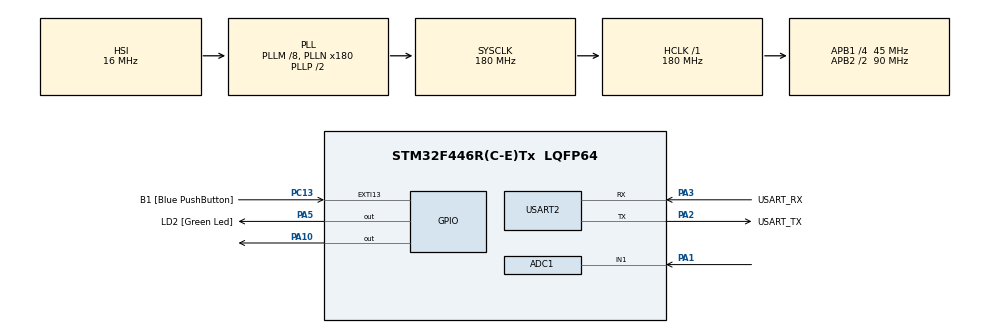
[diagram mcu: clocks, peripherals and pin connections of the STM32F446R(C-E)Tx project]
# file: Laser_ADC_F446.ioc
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Mcu.Family=STM32F4
PH0-OSC_IN.Signal=RCC_OSC_IN
RCC.CortexFreq_Value=180000000
ADC1.ContinuousConvMode=ENABLE
PA14.GPIO_Label=TCK
PC13.GPIO_Label=B1 [Blue PushButton]
RCC.SYSCLKSource=RCC_SYSCLKSOURCE_PLLCLK
ProjectManager.StackSize=0x400
RCC.HCLKFreq_Value=180000000
ADC1.Resolution=ADC_RESOLUTION_12B
RCC.APB2TimFreq_Value=180000000
Dma.ADC1.0.Direction=DMA_PERIPH_TO_MEMORY
ADC1.Channel-2\#ChannelRegularConversion=ADC_CHANNEL_1
ADC1.InjNumberOfConversion=0
NVIC.DMA2_Stream0_IRQn=true\:0\:0\:false\:false\:true\:false\:true
Dma.ADC1.0.MemDataAlignment=DMA_MDATAALIGN_HALFWORD
RCC.AHBFreq_Value=180000000
PH0-OSC_IN.Mode=HSE-External-Oscillator
RCC.HSE_VALUE=8000000
ADC1.ScanConvMode=DISABLE
ADC1.Rank-2\#ChannelRegularConversion=1
PC14-OSC32_IN.Mode=LSE-External-Oscillator
PA14.Mode=Serial_Wire
Dma.ADC1.0.PeriphInc=DMA_PINC_DISABLE
RCC.FLatency-AdvancedSettings=FLASH_LATENCY_5
PH1-OSC_OUT.Mode=HSE-External-Oscillator
Mcu.Package=LQFP64
TIM2.Prescaler=90-1
USART2.VirtualMode=VM_ASYNC
PA2.GPIO_Label=USART_TX
PA10.Signal=GPIO_Output
RCC.APB2CLKDivider=RCC_HCLK_DIV2
SH.ADCx_IN1.0=ADC1_IN1,IN1
RCC.APB1TimFreq_Value=90000000
Dma.ADC1.0.FIFOMode=DMA_FIFOMODE_DISABLE
Dma.Request0=ADC1
PA3.Signal=USART2_RX
PB3.GPIO_Label=SWO
PC15-OSC32_OUT.Mode=LSE-External-Oscillator
Dma.ADC1.0.Instance=DMA2_Stream0
PC13.Signal=GPXTI13
RCC.APB1CLKDivider=RCC_HCLK_DIV4
PC14-OSC32_IN.Signal=RCC_OSC32_IN
ADC1.SamplingTime-2\#ChannelRegularConversion=ADC_SAMPLETIME_3CYCLES
PA13.Signal=SYS_JTMS-SWDIO
PA3.Mode=Asynchronous
Dma.ADC1.0.PeriphDataAlignment=DMA_PDATAALIGN_HALFWORD
ProjectManager.TargetToolchain=STM32CubeIDE
Dma.ADC1.0.Mode=DMA_NORMAL
Dma.ADC1.0.Priority=DMA_PRIORITY_VERY_HIGH
RCC.USBFreq_Value=180000000
PC15-OSC32_OUT.Signal=RCC_OSC32_OUT
PA1.Signal=ADCx_IN1
PA5.Signal=GPIO_Output
board=NUCLEO-F446RE
RCC.VCOOutputFreq_Value=360000000
RCC.APB2Freq_Value=90000000
VP_TIM2_VS_ClockSourceINT.Mode=Internal
PH1-OSC_OUT.Signal=RCC_OSC_OUT
ADC1.DMAContinuousRequests=ENABLE
ADC1.NbrOfConversion=1
PA13.Mode=Serial_Wire
Mcu.Name=STM32F446R(C-E)Tx
PA13.GPIO_Label=TMS
PA2.Signal=USART2_TX
RCC.48MHZClocksFreq_Value=84000000
PB3.Signal=SYS_JTDO-SWO
RCC.SYSCLKFreq_VALUE=180000000
ADC1.master=1
PA5.GPIO_Label=LD2 [Green Led]
PC13.GPIO_ModeDefaultEXTI=GPIO_MODE_IT_FALLING
PA14.Signal=SYS_JTCK-SWCLK
Dma.ADC1.0.MemInc=DMA_MINC_ENABLE
ProjectManager.HeapSize=0x200
RCC.HSI_VALUE=16000000
NVIC.PriorityGroup=NVIC_PRIORITYGROUP_0
ADC1.NbrOfConversionFlag=1
RCC.PLLM=8
RCC.PLLN=180
PA2.Mode=Asynchronous
RCC.APB1Freq_Value=45000000
ADC1.ClockPrescaler=ADC_CLOCK_SYNC_PCLK_DIV4
PA3.GPIO_Label=USART_RX

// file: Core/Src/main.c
/* USER CODE BEGIN Header */
/**
  ******************************************************************************
  * @file           : main.c
  * @brief          : Main program body
  ******************************************************************************
  * @attention
  *
  * <h2><center>&copy; Copyright (c) 2021 STMicroelectronics.
  * All rights reserved.</center></h2>
  *
  * This software component is licensed by ST under BSD 3-Clause license,
  * the "License"; You may not use this file except in compliance with the
  * License. You may obtain a copy of the License at:
  *                        opensource.org/licenses/BSD-3-Clause
  *3
  ******************************************************************************
  */
/* USER CODE END Header */
#include "main.h"

/* USER CODE BEGIN Includes */
#include <string.h>
#include <stdio.h>
/* USER CODE END Includes */

/* USER CODE BEGIN PTD */
#define ADC_BUF_LEN 1 //num_samples per iteration
#define NUM_PASSES 1 // Number of averages per iteration
#define NUM_FREQS 10000
#define FREQ_PASS 10000
#define mode 2 // 1 = print averages, 2 = print frequencies
#define mod 1
/* USER CODE END PTD */

ADC_HandleTypeDef hadc1;
DMA_HandleTypeDef hdma_adc1;

TIM_HandleTypeDef htim2;

UART_HandleTypeDef huart2;

/* USER CODE BEGIN PV */
uint16_t adc_buf[ADC_BUF_LEN];
float avgs[ADC_BUF_LEN];
float freqs[NUM_FREQS];
float avg_freqs[NUM_FREQS];
int freq = 0;
volatile int state = 0;
int pass = 0;
int num_freq = 0;
uint32_t COOLDOWN = 2000;
uint32_t LASER_DELAY = 500;
/* USER CODE END PV */

void SystemClock_Config(void);
static void MX_GPIO_Init(void);
static void MX_DMA_Init(void);
static void MX_USART2_UART_Init(void);
static void MX_ADC1_Init(void);
static void MX_TIM2_Init(void);
/* USER CODE BEGIN PFP */
void delay_us(uint32_t);
/* USER CODE END PFP */

int main(void)
{
  /* USER CODE BEGIN 1 */
  char msg[16];
  /* USER CODE END 1 */

  /* MCU Configuration--------------------------------------------------------*/

  /* Reset of all peripherals, Initializes the Flash interface and the Systick. */
  HAL_Init();

  /* Configure the system clock */
  SystemClock_Config();

  /* Initialize all configured peripherals */
  MX_GPIO_Init();
  MX_DMA_Init();
  MX_USART2_UART_Init();
  MX_ADC1_Init();
  MX_TIM2_Init();
  /* USER CODE BEGIN 2 */
  HAL_TIM_Base_Start(&htim2);
  delay_us(500);
  HAL_GPIO_WritePin(GPIOA, GPIO_PIN_10, GPIO_PIN_RESET);
  delay_us(LASER_DELAY);
  HAL_GPIO_WritePin(GPIOA, LD2_Pin, GPIO_PIN_SET);
  //HAL_ADC_Start_DMA(&hadc1, (uint32_t*)adc_buf, ADC_BUF_LEN);
  state = 1;
  /* USER CODE END 2 */

  /* Infinite loop */
  /* USER CODE BEGIN WHILE */
  while (1)
  {
	if (state == 1) {
		HAL_GPIO_WritePin(GPIOA, GPIO_PIN_10, GPIO_PIN_SET);
		HAL_GPIO_WritePin(GPIOA, LD2_Pin, GPIO_PIN_RESET);
		delay_us(COOLDOWN);
		for (int j = 0; j < ADC_BUF_LEN; j++) {
			avgs[j] = (avgs[j] * pass + adc_buf[j]) / (pass + 1);
		}
		pass += 1;
		if (pass == NUM_PASSES) {
			state = 2;
		} else {
			state = 0;
			HAL_GPIO_WritePin(GPIOA, GPIO_PIN_10, GPIO_PIN_RESET);
			delay_us(LASER_DELAY);
			HAL_GPIO_WritePin(GPIOA, LD2_Pin, GPIO_PIN_SET);
			//HAL_ADC_Start_DMA(&hadc1, (uint32_t*)adc_buf, ADC_BUF_LEN);
			state = 1;
		}
	}
	if (state == 2) {
		if (mode == 1) {
			float val = 0.0;
			for (int j = 0; j < ADC_BUF_LEN; j+=1){
				val = 3.3 * avgs[j] / 4096;
				sprintf(msg, "%f\n", val);
			  	HAL_UART_Transmit(&huart2, (uint8_t*)msg, strlen(msg), HAL_MAX_DELAY);
			}
			while(1) {

			}
		} else {
			//HAL_GPIO_TogglePin(GPIOA, LD2_Pin);
			float average = 0;
			int total = 0;
			for (int j = 0; j < ADC_BUF_LEN; j++) {
				total += avgs[j];
			}
			average = 3.3 * (total / ADC_BUF_LEN) / 4096;
			freqs[freq] = average;
			freq += 1;
			if (freq == NUM_FREQS) {
				state = 3;
			} else {
				pass = 0;
				state = 0;
				if (freq % mod == 0) {
					HAL_GPIO_WritePin(GPIOA, GPIO_PIN_10, GPIO_PIN_RESET);
				}else {
					HAL_GPIO_WritePin(GPIOA, GPIO_PIN_10, GPIO_PIN_SET);
				}
				delay_us(LASER_DELAY);
				HAL_GPIO_WritePin(GPIOA, LD2_Pin, GPIO_PIN_SET);
				//HAL_ADC_Start_DMA(&hadc1, (uint32_t*)adc_buf, ADC_BUF_LEN);
				state = 1;
			}
		}

	}
	if (state == 3) {
		for (int j = 0; j < NUM_FREQS; j++) {
			avg_freqs[j] = (avg_freqs[j] * num_freq + freqs[j]) / (num_freq + 1);
		}
		num_freq += 1;
		if (num_freq == FREQ_PASS) {
			state = 4;
		}else {
			pass = 0;
			state = 0;
			freq = 0;
			HAL_GPIO_WritePin(GPIOA, GPIO_PIN_10, GPIO_PIN_RESET);
			delay_us(LASER_DELAY);
			HAL_GPIO_WritePin(GPIOA, LD2_Pin, GPIO_PIN_SET);
			//HAL_ADC_Start_DMA(&hadc1, (uint32_t*)adc_buf, ADC_BUF_LEN);
			state = 1;
		}
	}
	if (state == 4) {
		for (int j = 0; j < NUM_FREQS; j++) {
			sprintf(msg, "%f\n", avg_freqs[j]);
			HAL_UART_Transmit(&huart2, (uint8_t*)msg, strlen(msg), HAL_MAX_DELAY);
		}
		while (1) {

		}
	}
    /* USER CODE END WHILE */

  }
}

void SystemClock_Config(void)
{
  RCC_OscInitTypeDef RCC_OscInitStruct = {0};
  RCC_ClkInitTypeDef RCC_ClkInitStruct = {0};

  /** Configure the main internal regulator output voltage
  */
  __HAL_RCC_PWR_CLK_ENABLE();
  __HAL_PWR_VOLTAGESCALING_CONFIG(PWR_REGULATOR_VOLTAGE_SCALE1);
  /** Initializes the RCC Oscillators according to the specified parameters
  * in the RCC_OscInitTypeDef structure.
  */
  RCC_OscInitStruct.OscillatorType = RCC_OSCILLATORTYPE_HSI;
  RCC_OscInitStruct.HSIState = RCC_HSI_ON;
  RCC_OscInitStruct.HSICalibrationValue = RCC_HSICALIBRATION_DEFAULT;
  RCC_OscInitStruct.PLL.PLLState = RCC_PLL_ON;
  RCC_OscInitStruct.PLL.PLLSource = RCC_PLLSOURCE_HSI;
  RCC_OscInitStruct.PLL.PLLM = 8;
  RCC_OscInitStruct.PLL.PLLN = 180;
  RCC_OscInitStruct.PLL.PLLP = RCC_PLLP_DIV2;
  RCC_OscInitStruct.PLL.PLLQ = 2;
  RCC_OscInitStruct.PLL.PLLR = 2;
  if (HAL_RCC_OscConfig(&RCC_OscInitStruct) != HAL_OK)
  {
    Error_Handler();
  }
  /** Activate the Over-Drive mode
  */
  if (HAL_PWREx_EnableOverDrive() != HAL_OK)
  {
    Error_Handler();
  }
  /** Initializes the CPU, AHB and APB buses clocks
  */
  RCC_ClkInitStruct.ClockType = RCC_CLOCKTYPE_HCLK|RCC_CLOCKTYPE_SYSCLK
                              |RCC_CLOCKTYPE_PCLK1|RCC_CLOCKTYPE_PCLK2;
  RCC_ClkInitStruct.SYSCLKSource = RCC_SYSCLKSOURCE_PLLCLK;
  RCC_ClkInitStruct.AHBCLKDivider = RCC_SYSCLK_DIV1;
  RCC_ClkInitStruct.APB1CLKDivider = RCC_HCLK_DIV4;
  RCC_ClkInitStruct.APB2CLKDivider = RCC_HCLK_DIV2;

  if (HAL_RCC_ClockConfig(&RCC_ClkInitStruct, FLASH_LATENCY_5) != HAL_OK)
  {
    Error_Handler();
  }
}

static void MX_ADC1_Init(void)
{

  ADC_ChannelConfTypeDef sConfig = {0};

  /** Configure the global features of the ADC (Clock, Resolution, Data Alignment and number of conversion)
  */
  hadc1.Instance = ADC1;
  hadc1.Init.ClockPrescaler = ADC_CLOCK_SYNC_PCLK_DIV4;
  hadc1.Init.Resolution = ADC_RESOLUTION_12B;
  hadc1.Init.ScanConvMode = DISABLE;
  hadc1.Init.ContinuousConvMode = ENABLE;
  hadc1.Init.DiscontinuousConvMode = DISABLE;
  hadc1.Init.ExternalTrigConvEdge = ADC_EXTERNALTRIGCONVEDGE_NONE;
  hadc1.Init.ExternalTrigConv = ADC_SOFTWARE_START;
  hadc1.Init.DataAlign = ADC_DATAALIGN_RIGHT;
  hadc1.Init.NbrOfConversion = 1;
  hadc1.Init.DMAContinuousRequests = ENABLE;
  hadc1.Init.EOCSelection = ADC_EOC_SINGLE_CONV;
  if (HAL_ADC_Init(&hadc1) != HAL_OK)
  {
    Error_Handler();
  }
  /** Configure for the selected ADC regular channel its corresponding rank in the sequencer and its sample time.
  */
  sConfig.Channel = ADC_CHANNEL_1;
  sConfig.Rank = 1;
  sConfig.SamplingTime = ADC_SAMPLETIME_3CYCLES;
  if (HAL_ADC_ConfigChannel(&hadc1, &sConfig) != HAL_OK)
  {
    Error_Handler();
  }

}

static void MX_TIM2_Init(void)
{

  TIM_ClockConfigTypeDef sClockSourceConfig = {0};
  TIM_MasterConfigTypeDef sMasterConfig = {0};

  htim2.Instance = TIM2;
  htim2.Init.Prescaler = 90-1;
  htim2.Init.CounterMode = TIM_COUNTERMODE_UP;
  htim2.Init.Period = 4294967295;
  htim2.Init.ClockDivision = TIM_CLOCKDIVISION_DIV1;
  htim2.Init.AutoReloadPreload = TIM_AUTORELOAD_PRELOAD_DISABLE;
  if (HAL_TIM_Base_Init(&htim2) != HAL_OK)
  {
    Error_Handler();
  }
  sClockSourceConfig.ClockSource = TIM_CLOCKSOURCE_INTERNAL;
  if (HAL_TIM_ConfigClockSource(&htim2, &sClockSourceConfig) != HAL_OK)
  {
    Error_Handler();
  }
  sMasterConfig.MasterOutputTrigger = TIM_TRGO_RESET;
  sMasterConfig.MasterSlaveMode = TIM_MASTERSLAVEMODE_DISABLE;
  if (HAL_TIMEx_MasterConfigSynchronization(&htim2, &sMasterConfig) != HAL_OK)
  {
    Error_Handler();
  }

}

static void MX_USART2_UART_Init(void)
{

  huart2.Instance = USART2;
  huart2.Init.BaudRate = 115200;
  huart2.Init.WordLength = UART_WORDLENGTH_8B;
  huart2.Init.StopBits = UART_STOPBITS_1;
  huart2.Init.Parity = UART_PARITY_NONE;
  huart2.Init.Mode = UART_MODE_TX_RX;
  huart2.Init.HwFlowCtl = UART_HWCONTROL_NONE;
  huart2.Init.OverSampling = UART_OVERSAMPLING_16;
  if (HAL_UART_Init(&huart2) != HAL_OK)
  {
    Error_Handler();
  }

}

static void MX_DMA_Init(void)
{

  /* DMA controller clock enable */
  __HAL_RCC_DMA2_CLK_ENABLE();

  /* DMA interrupt init */
  /* DMA2_Stream0_IRQn interrupt configuration */
  HAL_NVIC_SetPriority(DMA2_Stream0_IRQn, 0, 0);
  HAL_NVIC_EnableIRQ(DMA2_Stream0_IRQn);

}

static void MX_GPIO_Init(void)
{
  GPIO_InitTypeDef GPIO_InitStruct = {0};

  /* GPIO Ports Clock Enable */
  __HAL_RCC_GPIOC_CLK_ENABLE();
  __HAL_RCC_GPIOH_CLK_ENABLE();
  __HAL_RCC_GPIOA_CLK_ENABLE();
  __HAL_RCC_GPIOB_CLK_ENABLE();

  /*Configure GPIO pin Output Level */
  HAL_GPIO_WritePin(GPIOA, LD2_Pin|GPIO_PIN_10, GPIO_PIN_RESET);

  /*Configure GPIO pin : B1_Pin */
  GPIO_InitStruct.Pin = B1_Pin;
  GPIO_InitStruct.Mode = GPIO_MODE_IT_FALLING;
  GPIO_InitStruct.Pull = GPIO_NOPULL;
  HAL_GPIO_Init(B1_GPIO_Port, &GPIO_InitStruct);

  /*Configure GPIO pins : LD2_Pin PA10 */
  GPIO_InitStruct.Pin = LD2_Pin|GPIO_PIN_10;
  GPIO_InitStruct.Mode = GPIO_MODE_OUTPUT_PP;
  GPIO_InitStruct.Pull = GPIO_NOPULL;
  GPIO_InitStruct.Speed = GPIO_SPEED_FREQ_LOW;
  HAL_GPIO_Init(GPIOA, &GPIO_InitStruct);

}

/* USER CODE BEGIN 4 */
/*
void HAL_ADC_ConvHalfCpltCallback(ADC_HandleTypeDef* hadc) {
	HAL_GPIO_WritePin(LD2_GPIO_Port, LD2_Pin, GPIO_PIN_SET);
}
*/
void HAL_ADC_ConvCpltCallback(ADC_HandleTypeDef* hadc) {
	//HAL_GPIO_WritePin(LD2_GPIO_Port, LD2_Pin, GPIO_PIN_RESET);
	state = 1;
}

void delay_us (uint32_t us) {
	__HAL_TIM_SET_COUNTER(&htim2, 0);
	while (__HAL_TIM_GET_COUNTER(&htim2) < us);
}
/* USER CODE END 4 */

void Error_Handler(void)
{
  __disable_irq();
  while (1)
  {
  }
}

/************************ (C) COPYRIGHT STMicroelectronics *****END OF FILE****/
